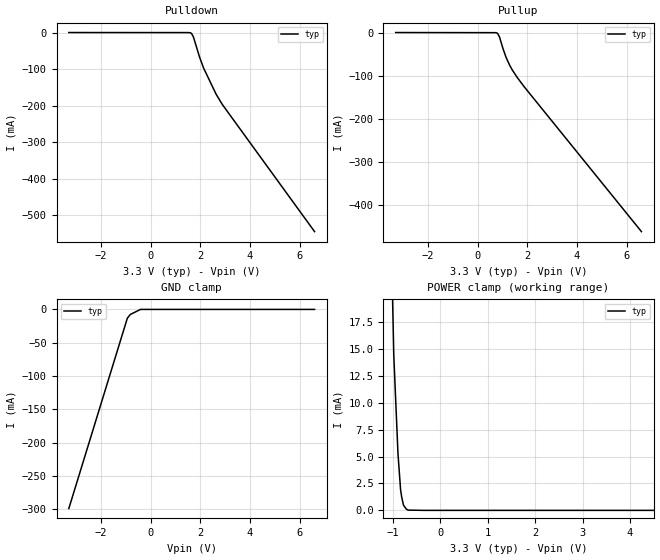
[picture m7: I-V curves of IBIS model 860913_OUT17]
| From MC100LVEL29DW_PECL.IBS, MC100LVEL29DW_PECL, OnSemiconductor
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[Model] 860913_OUT17
Model_type Output_ECL
Vref  = 1.300V
Rref  = 50.00ohms
Cref  = 0.000F
Vmeas = 2.00V
C_comp  600.0fF NA NA
| variable typ   min   max
[Voltage Range]   3.300V  NA  NA
[POWER Clamp Reference]  3.300V  NA  NA
[Pullup Reference]   3.300V  NA  NA
[Pulldown Reference]   3.300V  NA  NA
[GND Clamp Reference]   0.000V  NA  NA
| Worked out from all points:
|   POWER clamp passes 1 mA (typ) near -0.80 V on its own axis
[GND Clamp]
-3.3V     -299mA     NA         NA
-942.1mV  -13.14mA   NA         NA
-822.3mV  -7.558mA   NA         NA
-411.2mV  0A         NA         NA
6.6V      0A         NA         NA
[Pulldown]
-3.3V     125.6uA    NA         NA
1.43V     -2.685uA   NA         NA
1.552V    -73.73uA   NA         NA
1.591V    -520.8uA   NA         NA
1.611V    -1.009mA   NA         NA
1.649V    -2.937mA   NA         NA
1.721V    -12.4mA    NA         NA
1.962V    -66.14mA   NA         NA
2.129V    -97.09mA   NA         NA
2.636V    -169mA     NA         NA
2.887V    -197.1mA   NA         NA
6.6V      -544.7mA   NA         NA
[Pullup]
-3.3V     269.8uA    NA         NA
710mV     -26.74uA   NA         NA
805mV     -1.869mA   NA         NA
880mV     -9.715mA   NA         NA
1.027V    -37.93mA   NA         NA
1.148V    -57.66mA   NA         NA
1.396V    -86.66mA   NA         NA
1.599V    -104.3mA   NA         NA
1.86V     -124.5mA   NA         NA
6.6V      -462.1mA   NA         NA
[POWER Clamp]
-3.3V     945.4mA    NA         NA
-1.178V   77.08mA    NA         NA
-1.017V   21.85mA    NA         NA
-982mV    14.5mA     NA         NA
-893mV    5.297mA    NA         NA
-838mV    1.928mA    NA         NA
-814mV    1.22mA     NA         NA
-776mV    476.3uA    NA         NA
-717mV    119.2uA    NA         NA
-678mV    22.31uA    NA         NA
-339mV    0A         NA         NA
6.6V      0A         NA         NA
[Ramp]
| variable typ min max
dV/dt_r 441.7m/415.1p NA NA
dV/dt_f 441.7m/385.9p NA NA
R_load = 50.00Ohms
